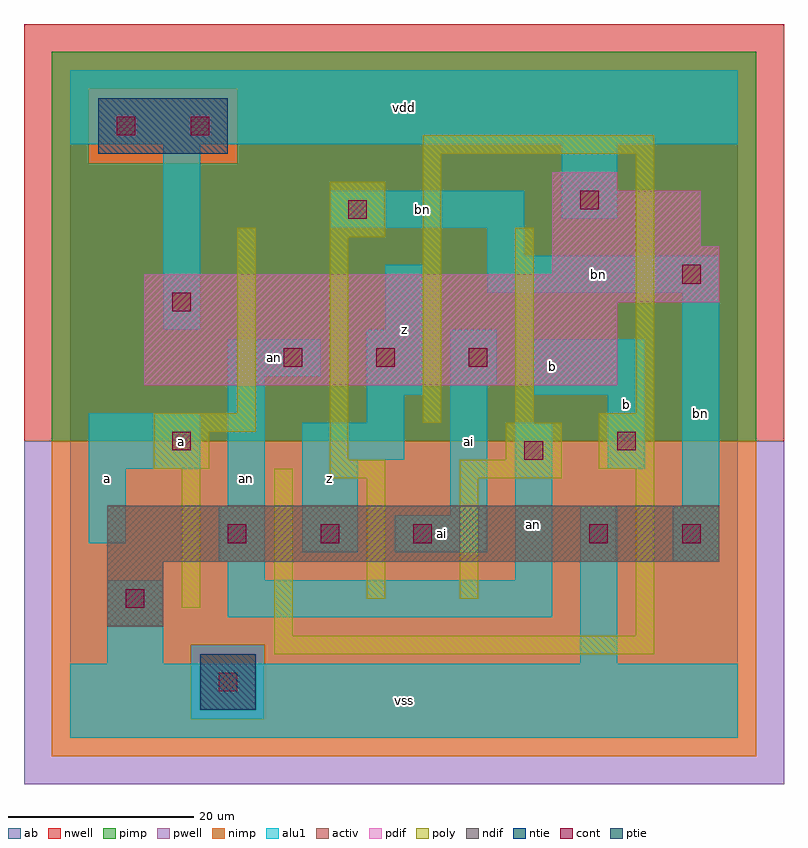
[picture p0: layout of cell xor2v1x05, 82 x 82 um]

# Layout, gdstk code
import gdstk
lib = gdstk.Library(unit=1e-6, precision=1e-09)
def R(c, l, rs):  # rectangles x0, y0, x1, y1
    for r in rs: c.add(gdstk.rectangle(r[:2], r[2:], *l))
def A(c, l, x, y, w, h, nx, ny, dx, dy):  # array of equal rectangles
    R(c, l, [(x+i*dx, y+j*dy, x+i*dx+w, y+j*dy+h) for i in range(nx) for j in range(ny)])
ndif = (3, 0)
pdif = (4, 0)
ntie = (5, 0)
ptie = (6, 0)
cont = (25, 0)
pwell = (41, 0)
nwell = (42, 0)
activ = (43, 0)
pimp = (44, 0)
nimp = (45, 0)
poly = (46, 0)
alu1 = (49, 0)
ab = (63, 0)

xor2v1x05 = lib.new_cell('xor2v1x05')
R(xor2v1x05, ndif, [(4,12,10,19), (4,19,70,25)])
R(xor2v1x05, pdif, [(8,38,59,47), (8,47,70,50), (52,50,70,53), (52,53,68,59), (52,59,59,61)])
R(xor2v1x05, ntie, [(3,63,17,69)])
R(xor2v1x05, ptie, [(14,3,20,9)])
A(xor2v1x05, cont, 17, 21, 2, 2, 3, 1, 10, 0)
A(xor2v1x05, cont, 23, 40, 2, 2, 3, 1, 10, 0)
R(xor2v1x05, cont, [(16,5,18,7), (6,14,8,16), (56,21,58,23), (66,21,68,23), (49,30,51,32), (11,31,13,33), (59,31,61,33), (11,46,13,48), (66,49,68,51), (30,56,32,58), (55,57,57,59), (5,65,7,67), (13,65,15,67)])
R(xor2v1x05, pwell, [(-5,-5,77,32)])
R(xor2v1x05, nwell, [(-5,32,77,77)])
R(xor2v1x05, activ, [(14,3,20,9), (4,12,10,19), (4,19,70,25), (8,38,59,47), (8,47,70,50), (52,50,70,53), (52,53,68,59), (52,59,59,61), (3,63,17,69)])
R(xor2v1x05, pimp, [(13,2,21,10), (-2,32,74,62), (-2,62,2,70), (18,62,74,70), (-2,70,74,74)])
R(xor2v1x05, nimp, [(-2,-2,74,2), (-2,2,13,10), (21,2,74,10), (-2,10,74,32), (2,62,18,70)])
R(xor2v1x05, poly, [(22,9,63,11), (22,11,24,29), (61,11,63,29), (12,14,14,29), (32,15,34,28), (42,15,44,28), (28,28,34,30), (42,28,53,30), (9,29,15,33), (57,29,63,35), (28,30,30,54), (47,30,53,34), (9,33,20,35), (38,34,40,63), (48,34,50,55), (18,35,20,55), (61,35,63,63), (28,54,34,60), (38,63,63,65)])
R(xor2v1x05, alu1, [(0,0,72,8), (4,8,10,17), (55,8,59,25), (17,13,52,17), (17,17,21,19), (48,17,52,34), (16,19,21,25), (65,19,70,25), (25,20,31,30), (35,20,45,24), (2,21,6,29), (41,24,45,38), (17,25,21,39), (66,25,70,48), (2,29,14,35), (58,29,62,37), (25,30,36,34), (32,34,36,37), (32,37,38,44), (50,37,62,43), (41,38,46,44), (17,39,27,43), (10,44,14,64), (34,44,38,51), (45,48,70,52), (45,52,49,55), (28,55,49,59), (53,56,59,64), (0,64,72,72)])
R(xor2v1x05, ab, [(0,0,72,72)])
xor2v1x05.add(gdstk.Label('an', (19,28), layer=49, texttype=0))
xor2v1x05.add(gdstk.Label('an', (22,41), layer=49, texttype=0))
xor2v1x05.add(gdstk.Label('an', (50,23), layer=49, texttype=0))
xor2v1x05.add(gdstk.Label('ai', (40,22), layer=49, texttype=0))
xor2v1x05.add(gdstk.Label('ai', (43,32), layer=49, texttype=0))
xor2v1x05.add(gdstk.Label('bn', (38,57), layer=49, texttype=0))
xor2v1x05.add(gdstk.Label('bn', (68,35), layer=49, texttype=0))
xor2v1x05.add(gdstk.Label('bn', (57,50), layer=49, texttype=0))
xor2v1x05.add(gdstk.Label('a', (4,28), layer=49, texttype=0))
xor2v1x05.add(gdstk.Label('a', (12,32), layer=49, texttype=0))
xor2v1x05.add(gdstk.Label('z', (28,28), layer=49, texttype=0))
xor2v1x05.add(gdstk.Label('vss', (36,4), layer=49, texttype=0))
xor2v1x05.add(gdstk.Label('b', (52,40), layer=49, texttype=0))
xor2v1x05.add(gdstk.Label('z', (36,44), layer=49, texttype=0))
xor2v1x05.add(gdstk.Label('vdd', (36,68), layer=49, texttype=0))
xor2v1x05.add(gdstk.Label('b', (60,36), layer=49, texttype=0))

lib.write_gds('xor2v1x05.gds')
